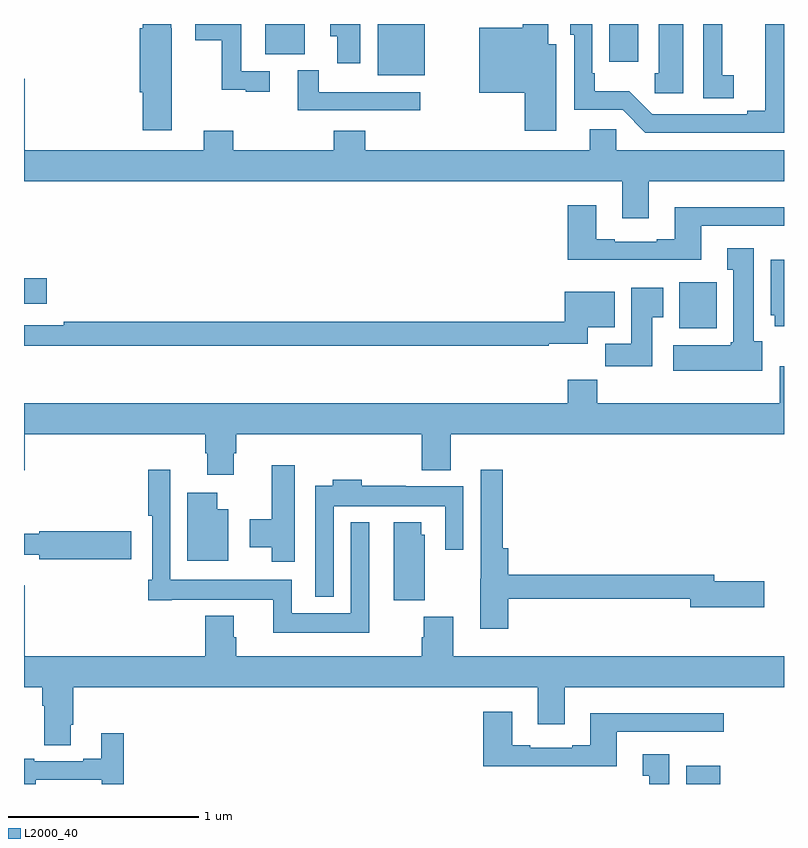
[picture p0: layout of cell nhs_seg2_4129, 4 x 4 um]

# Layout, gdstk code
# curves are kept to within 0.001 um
import gdstk
lib = gdstk.Library(unit=1e-6, precision=1e-09)
def R(c, l, rs):  # rectangles x0, y0, x1, y1
    for r in rs: c.add(gdstk.rectangle(r[:2], r[2:], *l))
def P(c, l, *ps):  # polygons
    for p in ps: c.add(gdstk.Polygon(p, *l))
L2000_40 = (2000, 40)

nhs_seg2_4129 = lib.new_cell('nhs_seg2_4129')
R(nhs_seg2_4129, L2000_40, [(336.485,641.8,336.664,641.896), (336.449,644.198,336.646,644.44), (333,644.327,333.121,644.462), (334.862,645.53,335.11,645.8), (336.08,645.602,336.232,645.8), (334.271,645.641,334.477,645.8)])
P(nhs_seg2_4129, L2000_40, [(336.736,645.529),(336.675,645.529),(336.675,645.8),(336.576,645.8),(336.576,645.409),(336.736,645.409)],
  [(337,645.8),(336.901,645.8),(336.902,645.344),(336.806,645.344),(336.806,645.324),(336.306,645.324),(336.185,645.445),(336.004,645.445),(336.004,645.541),(335.991,645.541),(335.991,645.8),(335.874,645.8),(335.874,645.744),(335.895,645.744),(335.895,645.348),(336.15,645.348),(336.27,645.228),(337,645.228)],
  [(336.469,645.8),(336.341,645.8),(336.341,645.54),(336.319,645.54),(336.319,645.435),(336.469,645.435)],
  [(334.771,645.8),(334.613,645.8),(334.613,645.736),(334.649,645.736),(334.649,645.594),(334.771,645.594)],
  [(334.294,645.552),(334.143,645.552),(334.143,645.8),(333.9,645.8),(333.9,645.715),(334.042,645.715),(334.042,645.455),(334.166,645.455),(334.166,645.444),(334.294,645.444)],
  [(333.778,645.777),(333.775,645.777),(333.775,645.8),(333.626,645.8),(333.626,645.777),(333.608,645.777),(333.608,645.441),(333.626,645.441),(333.626,645.24),(333.778,645.24)],
  [(335.8,645.694),(335.758,645.694),(335.758,645.8),(335.624,645.8),(335.624,645.781),(335.396,645.781),(335.396,645.437),(335.636,645.437),(335.636,645.237),(335.8,645.237)],
  [(335.086,645.441),(334.766,645.441),(334.766,645.442),(334.552,645.442),(334.552,645.556),(334.442,645.556),(334.442,645.345),(335.086,645.345)],
  [(336.289,644.972),(337,644.972),(337,645.136),(336.117,645.136),(336.117,645.246),(335.978,645.246),(335.978,645.136),(334.796,645.136),(334.796,645.238),(334.631,645.238),(334.631,645.136),(334.1,645.136),(334.1,645.238),(333.947,645.238),(333.947,645.136),(333.004,645.136),(333.004,645.511),(333,645.511),(333,644.972),(336.149,644.972),(336.149,644.778),(336.289,644.778)],
  [(336.565,644.739),(337,644.739),(337,644.836),(336.425,644.836),(336.425,644.668),(336.329,644.668),(336.329,644.655),(336.109,644.655),(336.109,644.668),(336.013,644.668),(336.013,644.845),(335.861,644.845),(335.861,644.558),(336.565,644.558)],
  [(336.886,644.13),(336.841,644.13),(336.841,644.62),(336.701,644.62),(336.701,644.507),(336.734,644.507),(336.734,644.124),(336.721,644.124),(336.721,644.11),(336.417,644.11),(336.417,643.976),(336.886,643.976)],
  [(337,644.56),(336.929,644.56),(336.929,644.268),(336.95,644.268),(336.95,644.208),(337,644.208)],
  [(336.307,644.257),(336.364,644.257),(336.364,644.413),(336.197,644.413),(336.197,644.116),(336.058,644.116),(336.058,643.998),(336.307,643.998)],
  [(335.762,644.117),(335.968,644.117),(335.968,644.204),(336.109,644.204),(336.109,644.392),(335.846,644.392),(335.846,644.234),(333.208,644.234),(333.208,644.214),(333,644.214),(333,644.106),(335.762,644.106)],
  [(334.105,643.542),(334.118,643.542),(334.118,643.64),(335.093,643.64),(335.093,643.451),(335.245,643.451),(335.245,643.64),(337,643.64),(337,643.999),(336.977,643.999),(336.977,643.804),(336.017,643.804),(336.017,643.928),(335.861,643.928),(335.861,643.804),(333,643.804),(333,643.452),(333.004,643.452),(333.004,643.64),(333.953,643.64),(333.953,643.542),(333.965,643.542),(333.965,643.428),(334.105,643.428)],
  [(334.426,643.477),(334.304,643.477),(334.304,643.194),(334.187,643.194),(334.187,643.046),(334.304,643.046),(334.304,642.969),(334.426,642.969)],
  [(334.816,643.177),(334.719,643.177),(334.719,642.7),(334.41,642.7),(334.41,642.874),(333.771,642.874),(333.771,643.453),(333.655,643.453),(333.655,643.213),(333.675,643.213),(333.675,642.874),(333.655,642.874),(333.655,642.768),(333.778,642.768),(333.778,642.77),(334.313,642.77),(334.313,642.596),(334.816,642.596)],
  [(335.549,642.774),(336.506,642.774),(336.506,642.731),(336.895,642.731),(336.895,642.866),(336.634,642.866),(336.634,642.902),(335.549,642.902),(335.549,643.042),(335.519,643.042),(335.519,643.453),(335.403,643.453),(335.403,642.879),(335.402,642.879),(335.402,642.618),(335.549,642.618)],
  [(334.629,643.262),(335.217,643.262),(335.217,643.032),(335.313,643.032),(335.313,643.366),(335.009,643.366),(335.009,643.369),(334.778,643.369),(334.778,643.402),(334.625,643.402),(334.625,643.369),(334.533,643.369),(334.533,642.785),(334.629,642.785)],
  [(334.075,643.246),(334.018,643.246),(334.018,643.333),(333.86,643.333),(333.86,642.974),(334.075,642.974)],
  [(335.11,643.113),(335.092,643.113),(335.092,643.177),(334.946,643.177),(334.946,642.766),(335.11,642.766)],
  [(333.565,643.13),(333.08,643.13),(333.08,643.117),(333,643.117),(333,643.007),(333.08,643.007),(333.08,642.983),(333.565,642.983)],
  [(333.247,642.112),(333.26,642.112),(333.26,642.308),(335.705,642.308),(335.705,642.114),(335.845,642.114),(335.845,642.308),(337,642.308),(337,642.472),(335.258,642.472),(335.258,642.681),(335.105,642.681),(335.105,642.572),(335.093,642.572),(335.093,642.472),(334.118,642.472),(334.118,642.573),(334.105,642.573),(334.105,642.685),(333.953,642.685),(333.953,642.472),(333.004,642.472),(333.004,642.847),(333,642.847),(333,642.308),(333.095,642.308),(333.095,642.212),(333.107,642.212),(333.107,642.004),(333.247,642.004)],
  [(336.121,642.075),(336.682,642.075),(336.682,642.172),(335.981,642.172),(335.981,642.004),(335.885,642.004),(335.885,641.991),(335.665,641.991),(335.665,642.004),(335.569,642.004),(335.569,642.181),(335.417,642.181),(335.417,641.894),(336.121,641.894)],
  [(333.061,641.823),(333.408,641.823),(333.408,641.8),(333.524,641.8),(333.524,642.067),(333.407,642.067),(333.407,641.932),(333.311,641.932),(333.311,641.919),(333.055,641.919),(333.055,641.932),(333,641.932),(333,641.8),(333.061,641.8)],
  [(336.397,641.956),(336.257,641.956),(336.257,641.843),(336.29,641.843),(336.29,641.8),(336.397,641.8)])

lib.write_gds('nhs_seg2_4129.gds')
